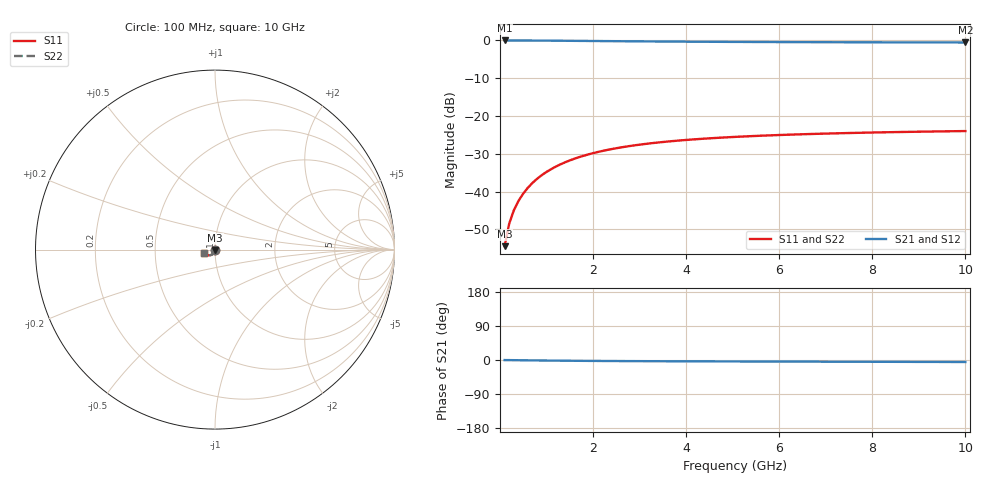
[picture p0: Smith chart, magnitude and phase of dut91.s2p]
! Touchstone file exported from HFSS 2024.1.0
!  File:  C:/UserFiles/LocalFiles/RDL_TSV_Batchsim/temp_TSV1_91_1779376119.aedt
!  Generated:  11:13:40 PM May 21, 2026
!  Design:  TSV1
!  Project:  temp_TSV1_91_1779376119
!  Setup:  Setup1
!  Solution:  Sweep
! Variables:
!  dtsv = 14.92um
!  hbump = 3um
!  htsv = 79.55um
!  lrdl = 252.1521522um
!  p = 40
!  p1 = 51.39um
!  t = 500um
!  trdl = 3um
!  wrdl = 24.89489489um
# GHz S MA R 50.000000
! Terminal data exported
! Port[1] = TSV22_T1
! Port[2] = TSV22_T2
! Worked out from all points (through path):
!   100 points, 100 MHz to 10 GHz, reference 50 ohm
!   highest |S21| = 0.00 dB at 100 MHz (marker M1); lowest = -0.5 dB at 10 GHz (marker M2)
!   lowest |S11| = -54.5 dB at 100 MHz (marker M3), VSWR 1.00, Z = 50 - j0.189 ohm
!   |S11| at or under -10 dB: start of sweep to end of sweep
!   |S22| runs from -54.5 to -24.0 dB; largest |S21 - S12| = 7.1e-15
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0.1  0.001894 -89.4  0.9999 -0.2  0.9999 -0.2  0.001894 -89.4
! Gamma 0 0 0 0
! Port Impedance 50 0 50 0
0.2  0.003788 -92.2  0.9997 -0.3  0.9997 -0.3  0.003788 -92.2
0.3  0.005679 -94.3  0.9993 -0.5  0.9993 -0.5  0.005679 -94.3
0.4  0.007556 -96.2  0.9989 -0.6  0.9989 -0.6  0.007556 -96.2
0.5  0.009413 -98.1  0.9984 -0.7  0.9984 -0.7  0.009413 -98.1
0.6  0.01124 -100.0  0.9978 -0.9  0.9978 -0.9  0.01124 -100.0
0.7  0.01304 -101.8  0.9971 -1.0  0.9971 -1.0  0.01304 -101.8
0.8  0.0148 -103.5  0.9963 -1.2  0.9963 -1.2  0.0148 -103.5
0.9  0.01651 -105.2  0.9954 -1.3  0.9954 -1.3  0.01651 -105.2
1.1  0.01982 -108.5  0.9935 -1.5  0.9935 -1.5  0.01982 -108.5
1.4  0.02441 -113.1  0.9903 -1.9  0.9903 -1.9  0.02441 -113.1
1.6  0.02721 -116.0  0.988 -2.1  0.988 -2.1  0.02721 -116.0
1.8  0.02982 -118.7  0.9857 -2.2  0.9857 -2.2  0.02982 -118.7
2.1  0.03337 -122.4  0.9822 -2.5  0.9822 -2.5  0.03337 -122.4
2.5  0.03748 -126.9  0.9777 -2.8  0.9777 -2.8  0.03748 -126.9
2.9  0.04098 -130.9  0.9734 -3.0  0.9734 -3.0  0.04098 -130.9
3.4  0.04463 -135.1  0.9687 -3.2  0.9687 -3.2  0.04463 -135.1
4.2  0.04923 -140.8  0.9623 -3.6  0.9623 -3.6  0.04923 -140.8
5.1  0.05309 -145.8  0.9565 -3.9  0.9565 -3.9  0.05309 -145.8
6.7  0.05784 -152.6  0.949 -4.3  0.949 -4.3  0.05784 -152.6
8.4  0.06111 -157.9  0.9436 -4.8  0.9436 -4.8  0.06111 -157.9
10  0.0632 -161.8  0.94 -5.3  0.94 -5.3  0.0632 -161.8
